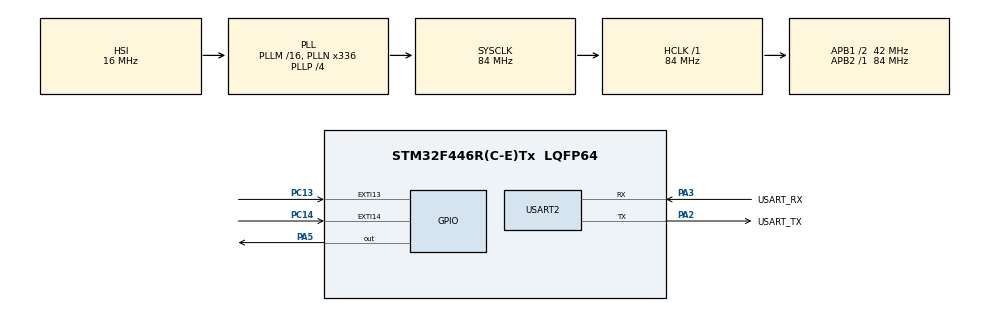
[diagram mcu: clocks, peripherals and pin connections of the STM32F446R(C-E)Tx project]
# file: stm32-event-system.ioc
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FREERTOS.Tasks01=defaultTask,24,128,StartDefaultTask,Default,NULL,Dynamic,NULL,NULL
Mcu.Family=STM32F4
Mcu.Name=STM32F446R(C-E)Tx
Mcu.Package=LQFP64
NVIC.EXTI15_10_IRQn=true\:5\:0\:false\:false\:true\:true\:true\:true\:true
NVIC.PriorityGroup=NVIC_PRIORITYGROUP_4
NVIC.TIM2_IRQn=true\:5\:0\:false\:false\:true\:true\:true\:true\:true
NVIC.USART2_IRQn=true\:5\:0\:false\:false\:true\:true\:true\:true\:true
PA13.GPIO_Label=TMS
PA13.Mode=Serial_Wire
PA13.Signal=SYS_JTMS-SWDIO
PA14.GPIO_Label=TCK
PA14.Mode=Serial_Wire
PA14.Signal=SYS_JTCK-SWCLK
PA2.GPIO_Label=USART_TX
PA2.Mode=Asynchronous
PA2.Signal=USART2_TX
PA3.GPIO_Label=USART_RX
PA3.Mode=Asynchronous
PA3.Signal=USART2_RX
PA5.Signal=GPIO_Output
PB3.GPIO_Label=SWO
PB3.Signal=SYS_JTDO-SWO
PC13.GPIO_ModeDefaultEXTI=GPIO_MODE_IT_RISING_FALLING
PC13.GPIO_PuPd=GPIO_NOPULL
PC13.Signal=GPXTI13
PC14-OSC32_IN.GPIO_ModeDefaultEXTI=GPIO_MODE_IT_RISING_FALLING
PC14-OSC32_IN.GPIO_PuPd=GPIO_NOPULL
PC14-OSC32_IN.Signal=GPXTI14
PC15-OSC32_OUT.Signal=RCC_OSC32_OUT
PH0-OSC_IN.Mode=HSE-External-Oscillator
PH0-OSC_IN.Signal=RCC_OSC_IN
PH1-OSC_OUT.Mode=HSE-External-Oscillator
PH1-OSC_OUT.Signal=RCC_OSC_OUT
ProjectManager.HeapSize=0x200
ProjectManager.StackSize=0x400
ProjectManager.TargetToolchain=STM32CubeIDE
RCC.48MHZClocksFreq_Value=84000000
RCC.AHBFreq_Value=84000000
RCC.APB1CLKDivider=RCC_HCLK_DIV2
RCC.APB1Freq_Value=42000000
RCC.APB1TimFreq_Value=84000000
RCC.APB2Freq_Value=84000000
RCC.APB2TimFreq_Value=84000000
RCC.CortexFreq_Value=84000000
RCC.FLatency-AdvancedSettings=FLASH_LATENCY_2
RCC.HCLKFreq_Value=84000000
RCC.HSE_VALUE=8000000
RCC.HSI_VALUE=16000000
RCC.PLLN=336
RCC.PLLP=RCC_PLLP_DIV4
RCC.SYSCLKFreq_VALUE=84000000
RCC.SYSCLKSource=RCC_SYSCLKSOURCE_PLLCLK
RCC.USBFreq_Value=168000000
RCC.VCOOutputFreq_Value=336000000
TIM2.Period=99
TIM2.Prescaler=8400-1
USART2.VirtualMode=VM_ASYNC
VP_FREERTOS_VS_CMSIS_V2.Mode=CMSIS_V2
VP_TIM2_VS_ClockSourceINT.Mode=Internal
board=NUCLEO-F446RE

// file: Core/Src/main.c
/* USER CODE BEGIN Header */
/**
  ******************************************************************************
  * @file           : main.c
  * @brief          : Main program body
  ******************************************************************************
  * @attention
  *
  * Copyright (c) 2026 STMicroelectronics.
  * All rights reserved.
  *
  * This software is licensed under terms that can be found in the LICENSE file
  * in the root directory of this software component.
  * If no LICENSE file comes with this software, it is provided AS-IS.
  *
  ******************************************************************************
  */
/* USER CODE END Header */
#include "main.h"
#include "cmsis_os.h"

/* USER CODE BEGIN Includes */
#include "button.h"
#include "event_queue.h"
#include "stdbool.h"
#include "string.h"
/* USER CODE END Includes */

/* USER CODE BEGIN PTD */
/* Defines IDLE and BLINK States */
typedef enum{
	LED_IDLE,
	LED_BLINK
}LEDState_t;

/* USER CODE END PTD */

/* USER CODE BEGIN PD */

#define OUTPUT_GROUP  GPIOA
#define LED           GPIO_PIN_5
#define UART_BUFFER_SIZE 32
#define NUM_BUTTON 2
/* USER CODE END PD */

TIM_HandleTypeDef htim2;

UART_HandleTypeDef huart2;

/* Definitions for defaultTask */
osThreadId_t defaultTaskHandle;
const osThreadAttr_t defaultTask_attributes = {
  .name = "defaultTask",
  .stack_size = 128 * 4,
  .priority = (osPriority_t) osPriorityNormal,
};
/* USER CODE BEGIN PV */
/* Variable to hold the button attributes */
static button_t button[NUM_BUTTON];
/* Variable to hold the LED States */
static LEDState_t  LEDState;
/* Variable to indicate the setting of LED toggle once */
static uint8_t toggle_once_flag=0;
/* Variable to indicate the setting of LED toggle twice */
static uint8_t toggle_twice_flag=0;
/* Variable to indicate the setting of LED toggle twice */
static uint8_t set_ON_flag = 0 ;
/* Variable to indicate the setting of LED toggle twice */
static uint8_t set_OFF_flag = 0 ;
/* Queue that holds the events from the button based on FIFO */
QueueHandle_t eventQueue;
/* UART Buffer */
char uartBuffer[UART_BUFFER_SIZE];
/* UART Index */
volatile uint8_t uartIndex = 0;
/* UART Command Complete */
volatile bool commandReady=false;
/* Holds the UART Received Character */
static char receivedChar;

/* USER CODE END PV */

void SystemClock_Config(void);
static void MX_GPIO_Init(void);
static void MX_USART2_UART_Init(void);
static void MX_TIM2_Init(void);
void StartDefaultTask(void *argument);

/* USER CODE BEGIN PFP */
static void app_led_output(void);
static void app_process_events(Event_t event);
static Event_t parse_uart_command(char *cmd);
/* USER CODE END PFP */

/* USER CODE BEGIN 0 */

/************************************************************ISR Driven:BEGIN************************************************************/

/************************************************************
  * @brief  HAL Callback for the EXTI Trigger
  *         1. Performs Button state transitions.
  *         2. Starts the timer based on the Button state.
  *         3. Single and Double click Evaluated.
  * @retval void
  ***********************************************************/
void HAL_GPIO_EXTI_Callback(uint16_t GPIO_Pin)
{
	for(int i =0;i<NUM_BUTTON;i++){
		if(GPIO_Pin == button[i].pin)
		{
			if(HAL_GPIO_ReadPin(button[i].port,button[i].pin)==BUTTON_ACTIVE)
			{
				button_handle_press(&button[i]);

			}
			else
			{
				button_handle_release(&button[i]);
			}
		}

	}
}

/************************************************************
  * @brief  HAL Callback when the timer is elapsed which was started
  *         in HAL_GPIO_EXTI_Callback
  *         -> Increments the respective counters based on the button state accordingly
  * @retval void
   ***********************************************************/
void HAL_TIM_PeriodElapsedCallback(TIM_HandleTypeDef *htim)
{
	if(htim->Instance == TIM2)
	{
		for(int i =0;i<NUM_BUTTON;i++)
		{
			button_tick(&button[i]);
		}
	}

}

/************************************************************
  * @brief  UART Rx Transfer completed callbacks.
  * @param  huart  Pointer to a UART_HandleTypeDef structure that contains
  *                the configuration information for the specified UART module.
  * @retval None
  *
  ***********************************************************/
void HAL_UART_RxCpltCallback(UART_HandleTypeDef *huart)
{
	    uint8_t ch = receivedChar;

        //Command Completed
        if((ch=='\n') || (ch=='\r'))
        {
        	if(uartIndex >0)
        	{
        		uartBuffer[uartIndex] = '\0';
        		commandReady = true;
        	}
        	uartIndex=0;
        }
        else
		{
        	if(uartIndex<UART_BUFFER_SIZE-1)
        	{
        		uartBuffer[uartIndex++]=ch;
        	}
        	else
        	{
        		//Buffer Overflow -> reset
        		uartIndex =0;
        	}
		}

	    HAL_UART_Receive_IT(&huart2,(uint8_t*)&receivedChar,1);
}

/************************************************************ISR Driven:END************************************************************/
/************************************************************RTOS Task Functions:BEGIN*************************************************/
/************************************************************
  * @brief  Event Task that performs button event and UART string processing by
  * enqueueing and dequeueing the events in order of FIFO
  *
  * @retval void
   ***********************************************************/
void EventTask(void* argument)
{
	Event_t event;
	TickType_t lastWakeTime = xTaskGetTickCount();

	while(1)
	{
        /* Send the UART string into the queue */
		if(commandReady)
		{
			commandReady = false;
			event = parse_uart_command(uartBuffer);

			if(event!=EVENT_NONE)
			{
				xQueueSend(eventQueue,&event,0);
			}
		}

		while(xQueueReceive(eventQueue,&event,0)==pdTRUE)
		{
			app_process_events(event);
		}

		for(int i =0;i<NUM_BUTTON;i++)
		{

			button_process(&button[i]);

		}

		vTaskDelayUntil(&lastWakeTime,pdMS_TO_TICKS(10));
	}
}
/************************************************************
  * @brief  Processes the Event to trigger the LED output
  *
  * @retval void
   ***********************************************************/

void LEDTask(void* argument)
{
	TickType_t lastWakeTime = xTaskGetTickCount();
	while(1)
	{
		app_led_output();
		vTaskDelayUntil(&lastWakeTime,pdMS_TO_TICKS(50));
	}
}

/************************************************************
 * @brief  Sets the LED State based on the  Button Events
 *         SINGLE CLICK : LED_TOG_ONCE
 *         DOUBLE CLICK : LED_TOG_TWICE
 *         LONG CLICK : Keep the LED in BLINK state
 * @retval void
 ***********************************************************/
static void app_process_events(Event_t event)
{

		switch(event)
		{
		/*Toggle the LED if its a single click*/
		case EVENT_LONG_CLICK:
			LEDState = LED_BLINK;
			break;
			/*Blink the LED if its a long click*/
		case EVENT_SINGLE_CLICK:
			toggle_once_flag=1;
			LEDState = LED_IDLE;
			break;
			/*Toggle the LED twice with delay of 1s if its a double click*/
		case EVENT_DOUBLE_CLICK:
			toggle_twice_flag=1;
			LEDState = LED_IDLE;
			break;
			/*Turn ON the LED based on the UART Command*/
		case EVENT_UART_ON:
			set_ON_flag = 1;
			LEDState = LED_IDLE;
			break;
			/*Turn OFF the LED based on the UART Command*/
		case EVENT_UART_OFF:
			set_OFF_flag = 1;
			LEDState = LED_IDLE;
			break;
			/*Turn Blink the LED based on the UART Command*/
		case EVENT_UART_BLINK:
			LEDState = LED_BLINK;
			break;
			/*STOP the LED based on the UART Command*/
		case EVENT_UART_STOP:
			LEDState = LED_IDLE;
			break;
			/*There is no event so do nothing*/
		default:
			break;
		}

}
/************************************************************
 * @brief  Toggles/Blink the LED based on the Button State
 *         SINGLE CLICK : Toggle Once
 *         DOUBLE CLICK : Toggle twice
 *         LONG CLICK : Keep the LED in BLINK state
 * @retval void
  ***********************************************************/
static void app_led_output()
{
	static uint32_t last_toggle=0;
	static uint8_t toggle_counter =0;

	/*State Driven Behaviour*/
	if(LEDState == LED_BLINK){
		/*Blink => Toggle with delay(500ms) */
		if(HAL_GetTick()-last_toggle > 500)
		{
			HAL_GPIO_TogglePin(OUTPUT_GROUP,LED);
			last_toggle = HAL_GetTick();
		}
	}

	/*One time action */

	/*Toggle once*/
	if(toggle_once_flag)
	{
		HAL_GPIO_TogglePin(OUTPUT_GROUP,LED);
		toggle_once_flag=0;

	}

	/*Toggle twice*/
	if(toggle_twice_flag)
	{
		if(HAL_GetTick()-last_toggle > 1000)
		{
			HAL_GPIO_TogglePin(OUTPUT_GROUP,LED);
			last_toggle = HAL_GetTick();
			toggle_counter++;
		}
		if(toggle_counter>=2)
		{
			last_toggle=0;
			toggle_counter=0;
			toggle_twice_flag=0;
		}
	}

    /*Flag is set */
	if(set_ON_flag)
	{
		HAL_GPIO_WritePin(OUTPUT_GROUP, LED, GPIO_PIN_SET);
		set_ON_flag=0;
	}

	/*Flag is set */
	if(set_OFF_flag)
	{
		HAL_GPIO_WritePin(OUTPUT_GROUP, LED, GPIO_PIN_RESET);
		set_OFF_flag=0;
	}

}
/************************************************************
 * @brief  Parses the UART Command
 *         EVENT_UART_ON : Turn ON the LED
 *         EVENT_UART_OFF : Turn OFF the LED
 *         EVENT_UART_BLINK : Turn BLINK the LED
 *         EVENT_UART_STOP : Turn STOP the LED
 * @retval Event_t
  ***********************************************************/
Event_t parse_uart_command(char *cmd)
{

	if(strcmp(cmd,"ON")==0){
		return EVENT_UART_ON;
	}
	if(strcmp(cmd,"OFF")==0){
		return EVENT_UART_OFF;
	}
	if(strcmp(cmd,"BLINK")==0){
		return EVENT_UART_BLINK;
	}
	if(strcmp(cmd,"STOP")==0){
		return EVENT_UART_STOP;
	}

return EVENT_NONE;
}
/************************************************************RTOS Task Functions:END*************************************************/
/* USER CODE END 0 */

int main(void)
{

  /* MCU Configuration--------------------------------------------------------*/

  /* Reset of all peripherals, Initializes the Flash interface and the Systick. */
  HAL_Init();

  /* Configure the system clock */
  SystemClock_Config();

  /* Initialize all configured peripherals */
  MX_GPIO_Init();
  MX_USART2_UART_Init();

  HAL_UART_Receive_IT(&huart2,(uint8_t*)&receivedChar,1);

  MX_TIM2_Init();
  /* USER CODE BEGIN 2 */

  /*Initialize the buttons*/
  button_init(&button[0],GPIOC,GPIO_PIN_13);
  button_init(&button[1],GPIOC,GPIO_PIN_14);
  event_queue_init();

  /*start timer*/
  HAL_TIM_Base_Start_IT(&htim2);
  /* USER CODE END 2 */

  /* Init scheduler */
  osKernelInitialize();

  /* USER CODE BEGIN RTOS_QUEUES */
  eventQueue = xQueueCreate(10,sizeof(Event_t));
  /* USER CODE END RTOS_QUEUES */

  /* Create the thread(s) */
  /* creation of defaultTask */
  defaultTaskHandle = osThreadNew(StartDefaultTask, NULL, &defaultTask_attributes);

  /* USER CODE BEGIN RTOS_THREADS */
  xTaskCreate(EventTask,"EventTask",128,NULL,2,NULL);
  xTaskCreate(LEDTask,"LEDTask",128,NULL,1,NULL);
  /* USER CODE END RTOS_THREADS */

  /* Start scheduler */
  osKernelStart();

  /* We should never get here as control is now taken by the scheduler */

  /* Infinite loop */
  while (1)
  {

  }
}

void SystemClock_Config(void)
{
  RCC_OscInitTypeDef RCC_OscInitStruct = {0};
  RCC_ClkInitTypeDef RCC_ClkInitStruct = {0};

  /** Configure the main internal regulator output voltage
  */
  __HAL_RCC_PWR_CLK_ENABLE();
  __HAL_PWR_VOLTAGESCALING_CONFIG(PWR_REGULATOR_VOLTAGE_SCALE3);

  /** Initializes the RCC Oscillators according to the specified parameters
  * in the RCC_OscInitTypeDef structure.
  */
  RCC_OscInitStruct.OscillatorType = RCC_OSCILLATORTYPE_HSI;
  RCC_OscInitStruct.HSIState = RCC_HSI_ON;
  RCC_OscInitStruct.HSICalibrationValue = RCC_HSICALIBRATION_DEFAULT;
  RCC_OscInitStruct.PLL.PLLState = RCC_PLL_ON;
  RCC_OscInitStruct.PLL.PLLSource = RCC_PLLSOURCE_HSI;
  RCC_OscInitStruct.PLL.PLLM = 16;
  RCC_OscInitStruct.PLL.PLLN = 336;
  RCC_OscInitStruct.PLL.PLLP = RCC_PLLP_DIV4;
  RCC_OscInitStruct.PLL.PLLQ = 2;
  RCC_OscInitStruct.PLL.PLLR = 2;
  if (HAL_RCC_OscConfig(&RCC_OscInitStruct) != HAL_OK)
  {
    Error_Handler();
  }

  /** Initializes the CPU, AHB and APB buses clocks
  */
  RCC_ClkInitStruct.ClockType = RCC_CLOCKTYPE_HCLK|RCC_CLOCKTYPE_SYSCLK
                              |RCC_CLOCKTYPE_PCLK1|RCC_CLOCKTYPE_PCLK2;
  RCC_ClkInitStruct.SYSCLKSource = RCC_SYSCLKSOURCE_PLLCLK;
  RCC_ClkInitStruct.AHBCLKDivider = RCC_SYSCLK_DIV1;
  RCC_ClkInitStruct.APB1CLKDivider = RCC_HCLK_DIV2;
  RCC_ClkInitStruct.APB2CLKDivider = RCC_HCLK_DIV1;

  if (HAL_RCC_ClockConfig(&RCC_ClkInitStruct, FLASH_LATENCY_2) != HAL_OK)
  {
    Error_Handler();
  }
}

static void MX_TIM2_Init(void)
{

  TIM_ClockConfigTypeDef sClockSourceConfig = {0};
  TIM_MasterConfigTypeDef sMasterConfig = {0};

  htim2.Instance = TIM2;
  htim2.Init.Prescaler = 8400-1;
  htim2.Init.CounterMode = TIM_COUNTERMODE_UP;
  htim2.Init.Period = 99;
  htim2.Init.ClockDivision = TIM_CLOCKDIVISION_DIV1;
  htim2.Init.AutoReloadPreload = TIM_AUTORELOAD_PRELOAD_DISABLE;
  if (HAL_TIM_Base_Init(&htim2) != HAL_OK)
  {
    Error_Handler();
  }
  sClockSourceConfig.ClockSource = TIM_CLOCKSOURCE_INTERNAL;
  if (HAL_TIM_ConfigClockSource(&htim2, &sClockSourceConfig) != HAL_OK)
  {
    Error_Handler();
  }
  sMasterConfig.MasterOutputTrigger = TIM_TRGO_RESET;
  sMasterConfig.MasterSlaveMode = TIM_MASTERSLAVEMODE_DISABLE;
  if (HAL_TIMEx_MasterConfigSynchronization(&htim2, &sMasterConfig) != HAL_OK)
  {
    Error_Handler();
  }

}

static void MX_USART2_UART_Init(void)
{

  huart2.Instance = USART2;
  huart2.Init.BaudRate = 115200;
  huart2.Init.WordLength = UART_WORDLENGTH_8B;
  huart2.Init.StopBits = UART_STOPBITS_1;
  huart2.Init.Parity = UART_PARITY_NONE;
  huart2.Init.Mode = UART_MODE_TX_RX;
  huart2.Init.HwFlowCtl = UART_HWCONTROL_NONE;
  huart2.Init.OverSampling = UART_OVERSAMPLING_16;
  if (HAL_UART_Init(&huart2) != HAL_OK)
  {
    Error_Handler();
  }

}

static void MX_GPIO_Init(void)
{
  GPIO_InitTypeDef GPIO_InitStruct = {0};

  /* GPIO Ports Clock Enable */
  __HAL_RCC_GPIOC_CLK_ENABLE();
  __HAL_RCC_GPIOH_CLK_ENABLE();
  __HAL_RCC_GPIOA_CLK_ENABLE();
  __HAL_RCC_GPIOB_CLK_ENABLE();

  /*Configure GPIO pin Output Level */
  HAL_GPIO_WritePin(GPIOA, GPIO_PIN_5, GPIO_PIN_RESET);

  /*Configure GPIO pins : PC13 PC14 */
  GPIO_InitStruct.Pin = GPIO_PIN_13|GPIO_PIN_14;
  GPIO_InitStruct.Mode = GPIO_MODE_IT_RISING_FALLING;
  GPIO_InitStruct.Pull = GPIO_NOPULL;
  HAL_GPIO_Init(GPIOC, &GPIO_InitStruct);

  /*Configure GPIO pin : PA5 */
  GPIO_InitStruct.Pin = GPIO_PIN_5;
  GPIO_InitStruct.Mode = GPIO_MODE_OUTPUT_PP;
  GPIO_InitStruct.Pull = GPIO_NOPULL;
  GPIO_InitStruct.Speed = GPIO_SPEED_FREQ_LOW;
  HAL_GPIO_Init(GPIOA, &GPIO_InitStruct);

  /* EXTI interrupt init*/
  HAL_NVIC_SetPriority(EXTI15_10_IRQn, 5, 0);
  HAL_NVIC_EnableIRQ(EXTI15_10_IRQn);

}

/* USER CODE BEGIN 4 */
/************************************************************OLD Queue Functions:BEGIN************************************************/
/************************************************************
 * @brief  Collects and processes the events for LED States
 * @retval void
 ***********************************************************/
//static void app_led_state_eval()
//{
//	uint8_t index=0;
//
//	while(index<NUM_BUTTON)
//	{
//		/*update the events in queue*/
//		index = app_queue_button_events(index);
//		/*process the queue event to set the LED state*/
//		app_process_events();
//	}
//}

/************************************************************
 * @brief  Collects the events into the queue for ordered processing
 * @retval void
 ***********************************************************/
//static uint8_t app_queue_button_events(uint8_t index)
//{
//    uint8_t stop_index=NUM_BUTTON;
//	app_event_t app_event;
//	ButtonEvent_t evt;
//	for(int i =index;i<NUM_BUTTON;i++)
//	{
//
//		button_process(&button[i]);
//
//		evt =  button_pop_event(&button[i]);
//        /*Load all the valid event to the queue*/
//		if(evt!=EVENT_NONE)
//		{
//
//			app_event.button_id = i;
//			app_event.event =evt;
//
//			if(!event_queue_push(&app_event))
//			{
//				/*Since processing rest of the button will not yield
//				 * any benefit since the queue is full, hence stop at current index
//				 */
//				stop_index = i;
//				break;
//			}
//		}
//	}
//	return stop_index;
//}
/************************************************************OLD Queue Functions:END************************************************/
/* USER CODE END 4 */

void StartDefaultTask(void *argument)
{
  for(;;)
  {
    osDelay(1);
  }
}

void Error_Handler(void)
{
  __disable_irq();
  while (1)
  {
  }
}
